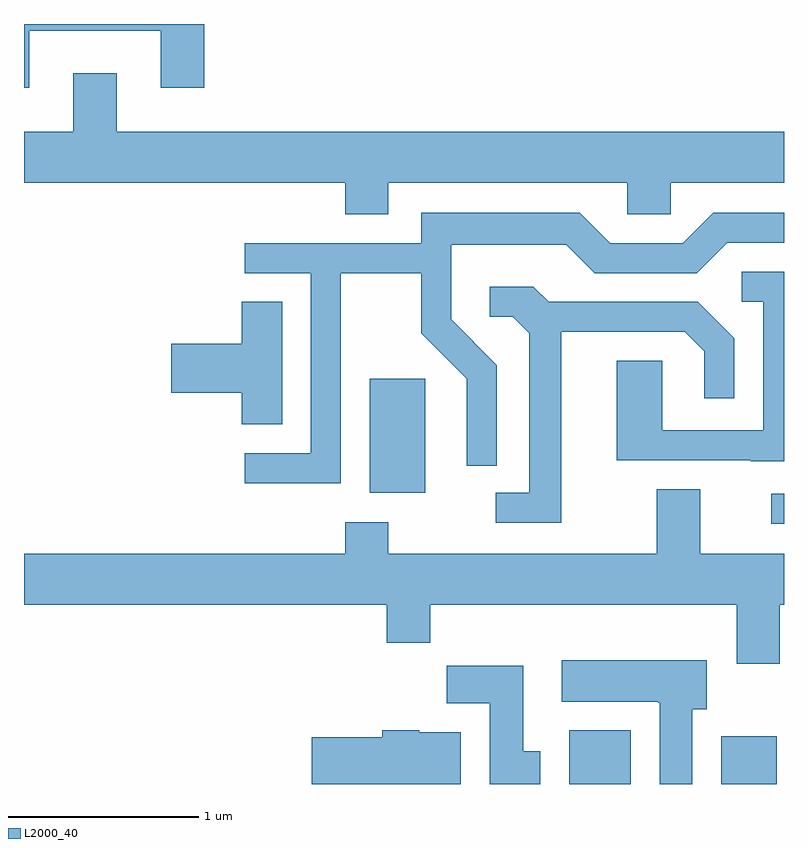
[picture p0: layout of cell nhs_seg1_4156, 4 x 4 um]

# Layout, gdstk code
import gdstk
lib = gdstk.Library(unit=1e-6, precision=1e-09)
def R(c, l, rs):  # rectangles x0, y0, x1, y1
    for r in rs: c.add(gdstk.rectangle(r[:2], r[2:], *l))
def P(c, l, *ps):  # polygons
    for p in ps: c.add(gdstk.Polygon(p, *l))
L2000_40 = (2000, 40)

nhs_seg1_4156 = lib.new_cell('nhs_seg1_4156')
R(nhs_seg1_4156, L2000_40, [(312.481,929.712,312.804,929.994), (313.281,929.712,313.574,929.964), (313.543,931.081,313.611,931.239), (311.431,931.246,311.724,931.844)])
P(nhs_seg1_4156, L2000_40, [(309.639,933.676),(310.331,933.676),(310.331,933.376),(310.559,933.376),(310.559,933.712),(309.611,933.712),(309.611,933.376),(309.639,933.376)],
  [(311.529,932.876),(312.786,932.876),(312.786,932.711),(313.014,932.711),(313.014,932.876),(313.611,932.876),(313.611,933.144),(310.099,933.144),(310.099,933.454),(309.871,933.454),(309.871,933.144),(309.611,933.144),(309.611,932.876),(311.301,932.876),(311.301,932.711),(311.529,932.711)],
  [(311.279,932.401),(311.701,932.401),(311.701,932.084),(311.941,931.844),(311.941,931.388),(312.099,931.388),(312.099,931.917),(311.859,932.157),(311.859,932.551),(312.464,932.551),(312.614,932.401),(313.152,932.401),(313.312,932.561),(313.611,932.561),(313.611,932.719),(313.239,932.719),(313.079,932.559),(312.697,932.559),(312.537,932.719),(311.701,932.719),(311.701,932.559),(310.773,932.559),(310.773,932.401),(311.121,932.401),(311.121,931.454),(310.773,931.454),(310.773,931.296),(311.279,931.296)],
  [(313.611,932.409),(313.388,932.409),(313.388,932.251),(313.501,932.251),(313.501,931.574),(312.969,931.574),(312.969,931.939),(312.731,931.939),(312.731,931.416),(313.435,931.416),(313.435,931.411),(313.611,931.411)],
  [(312.439,932.091),(313.089,932.091),(313.191,931.989),(313.191,931.743),(313.349,931.743),(313.349,932.057),(313.157,932.249),(312.372,932.249),(312.292,932.329),(312.063,932.329),(312.063,932.171),(312.184,932.171),(312.271,932.084),(312.271,931.244),(312.093,931.244),(312.093,931.086),(312.439,931.086)],
  [(310.969,932.249),(310.756,932.249),(310.756,932.029),(310.386,932.029),(310.386,931.771),(310.756,931.771),(310.756,931.606),(310.969,931.606)],
  [(313.589,930.656),(313.611,930.656),(313.611,930.924),(313.169,930.924),(313.169,931.264),(312.941,931.264),(312.941,930.924),(311.529,930.924),(311.529,931.089),(311.301,931.089),(311.301,930.924),(309.611,930.924),(309.611,930.656),(311.521,930.656),(311.521,930.456),(311.749,930.456),(311.749,930.656),(313.361,930.656),(313.361,930.346),(313.589,930.346)],
  [(313.129,930.106),(313.204,930.106),(313.204,930.364),(312.441,930.364),(312.441,930.146),(312.95,930.146),(312.95,930.14),(312.956,930.14),(312.956,929.712),(313.129,929.712)],
  [(312.329,929.884),(312.239,929.884),(312.239,930.334),(311.836,930.334),(311.836,930.136),(312.061,930.136),(312.061,929.712),(312.329,929.712)],
  [(311.909,929.984),(311.69,929.984),(311.69,929.994),(311.496,929.994),(311.496,929.959),(311.126,929.959),(311.126,929.712),(311.909,929.712)])

lib.write_gds('nhs_seg1_4156.gds')
